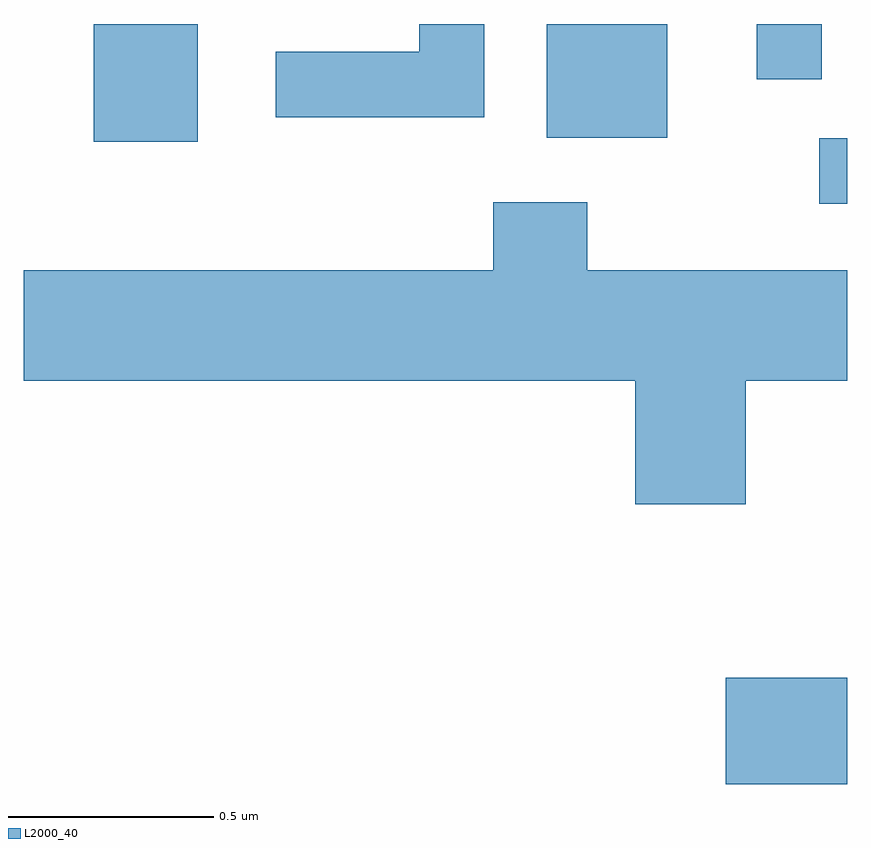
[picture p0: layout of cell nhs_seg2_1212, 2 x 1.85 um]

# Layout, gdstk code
import gdstk
lib = gdstk.Library(unit=1e-6, precision=1e-09)
def R(c, l, rs):  # rectangles x0, y0, x1, y1
    for r in rs: c.add(gdstk.rectangle(r[:2], r[2:], *l))
def P(c, l, *ps):  # polygons
    for p in ps: c.add(gdstk.Polygon(p, *l))
L2000_40 = (2000, 40)

nhs_seg2_1212 = lib.new_cell('nhs_seg2_1212')
R(nhs_seg2_1212, L2000_40, [(195.316,1093.956,195.611,1094.214), (195.543,1095.366,195.611,1095.524), (193.781,1095.516,194.034,1095.802), (194.881,1095.526,195.174,1095.802), (195.391,1095.668,195.549,1095.802)])
P(nhs_seg2_1212, L2000_40, [(194.729,1095.802),(194.571,1095.802),(194.571,1095.734),(194.223,1095.734),(194.223,1095.576),(194.729,1095.576)],
  [(195.364,1094.936),(195.611,1094.936),(195.611,1095.204),(194.979,1095.204),(194.979,1095.369),(194.751,1095.369),(194.751,1095.204),(193.611,1095.204),(193.611,1094.936),(195.096,1094.936),(195.096,1094.636),(195.364,1094.636)])

lib.write_gds('nhs_seg2_1212.gds')
